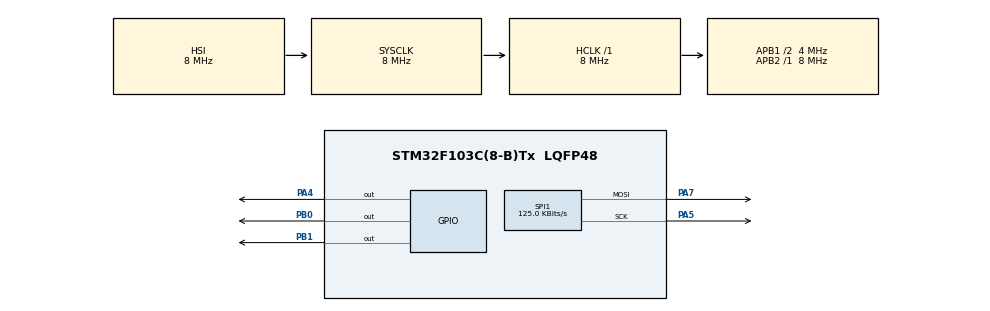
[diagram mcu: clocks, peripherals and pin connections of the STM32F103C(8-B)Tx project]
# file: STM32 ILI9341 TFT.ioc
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Mcu.Family=STM32F1
Mcu.Name=STM32F103C(8-B)Tx
Mcu.Package=LQFP48
NVIC.PriorityGroup=NVIC_PRIORITYGROUP_4
PA4.Signal=GPIO_Output
PA5.Mode=TX_Only_Simplex_Unidirect_Master
PA5.Signal=SPI1_SCK
PA7.Mode=TX_Only_Simplex_Unidirect_Master
PA7.Signal=SPI1_MOSI
PB0.Signal=GPIO_Output
PB1.Signal=GPIO_Output
ProjectManager.HeapSize=0x200
ProjectManager.StackSize=0x400
ProjectManager.TargetToolchain=STM32CubeIDE
RCC.AHBFreq_Value=8000000
RCC.APB1CLKDivider=RCC_HCLK_DIV2
RCC.APB1Freq_Value=4000000
RCC.APB1TimFreq_Value=8000000
RCC.APB2Freq_Value=8000000
RCC.APB2TimFreq_Value=8000000
RCC.HCLKFreq_Value=8000000
RCC.PLLMUL=RCC_PLL_MUL9
RCC.SYSCLKFreq_VALUE=8000000
RCC.USBFreq_Value=36000000
SPI1.BaudRatePrescaler=SPI_BAUDRATEPRESCALER_64
SPI1.CalculateBaudRate=125.0 KBits/s
SPI1.Direction=SPI_DIRECTION_2LINES
SPI1.Mode=SPI_MODE_MASTER
SPI1.VirtualType=VM_MASTER
VP_SYS_VS_ND.Mode=No_Debug
board=custom

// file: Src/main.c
/* USER CODE BEGIN Header */
/**
  ******************************************************************************
  * @file           : main.c
  * @brief          : Main program body
  ******************************************************************************
  * @attention
  *
  * <h2><center>&copy; Copyright (c) 2023 STMicroelectronics.
  * All rights reserved.</center></h2>
  *
  * This software component is licensed by ST under BSD 3-Clause license,
  * the "License"; You may not use this file except in compliance with the
  * License. You may obtain a copy of the License at:
  *                        opensource.org/licenses/BSD-3-Clause
  *
  ******************************************************************************
  */
/* USER CODE END Header */

#include "main.h"

/* USER CODE BEGIN Includes */
#include <string.h>
#include <stdarg.h>
#include "ili9341.h"
#include "ili9341_touch.h"
#include "fonts.h"
#include"testimg.h"

/* USER CODE END Includes */

SPI_HandleTypeDef hspi1;

void SystemClock_Config(void);
static void MX_GPIO_Init(void);
static void MX_SPI1_Init(void);

/* USER CODE BEGIN 0 */
void init() {
    ILI9341_Unselect();
    ILI9341_TouchUnselect();
    ILI9341_Init();
}

void loop() {

   /* // Check border
    ILI9341_FillScreen(ILI9341_BLACK);

    for(int x = 0; x < ILI9341_WIDTH; x++) {
        ILI9341_DrawPixel(x, 0, ILI9341_RED);
        ILI9341_DrawPixel(x, ILI9341_HEIGHT-1, ILI9341_RED);
    }

    for(int y = 0; y < ILI9341_HEIGHT; y++) {
        ILI9341_DrawPixel(0, y, ILI9341_RED);
        ILI9341_DrawPixel(ILI9341_WIDTH-1, y, ILI9341_RED);
    }

    HAL_Delay(1000);
    ILI9341_WriteString(0, 3*10, " WELCOM TO MY CHANNEL", Font_11x18, ILI9341_GREEN, ILI9341_BLACK);
      ILI9341_WriteString(0, 6*10, " THE EMBEDDED THINGS", Font_11x18, ILI9341_GREEN, ILI9341_BLACK);
      ILI9341_WriteString(0, 9*10, "       PLEASE", Font_11x18, ILI9341_GREEN, ILI9341_BLACK);
      ILI9341_WriteString(0, 12*10, "   LIKE && SUBSCRIBE", Font_11x18, ILI9341_GREEN, ILI9341_BLACK);
      ILI9341_WriteString(0, 15*10,"  Thank you ", Font_16x26, ILI9341_RED, ILI9341_BLACK);
      ILI9341_WriteString(0, 18*10,"   (*^_-*) ", Font_16x26, ILI9341_RED, ILI9341_BLACK);
      HAL_Delay(3000);

    // Check fonts
    ILI9341_FillScreen(ILI9341_BLACK);
    ILI9341_WriteString(0, 0, "Font_7x10, HELLO", Font_7x10, ILI9341_RED, ILI9341_BLACK);
    ILI9341_WriteString(0, 3*10, "Font_11x18, HELLO", Font_11x18, ILI9341_GREEN, ILI9341_BLACK);
    ILI9341_WriteString(0, 3*10+3*18, "Font_16x26,HELLO", Font_16x26, ILI9341_BLUE, ILI9341_BLACK);

    HAL_Delay(1000);
    ILI9341_InvertColors(true);
    HAL_Delay(1000);
    ILI9341_InvertColors(false);

    HAL_Delay(5000);

    // Check colors
    ILI9341_FillScreen(ILI9341_WHITE);
    ILI9341_WriteString(0, 0, "WHITE", Font_11x18, ILI9341_BLACK, ILI9341_WHITE);
    HAL_Delay(500);

    ILI9341_FillScreen(ILI9341_BLUE);
    ILI9341_WriteString(0, 0, "BLUE", Font_11x18, ILI9341_BLACK, ILI9341_BLUE);
    HAL_Delay(500);

    ILI9341_FillScreen(ILI9341_RED);
    ILI9341_WriteString(0, 0, "RED", Font_11x18, ILI9341_BLACK, ILI9341_RED);
    HAL_Delay(500);

    ILI9341_FillScreen(ILI9341_GREEN);
    ILI9341_WriteString(0, 0, "GREEN", Font_11x18, ILI9341_BLACK, ILI9341_GREEN);
    HAL_Delay(500);

    ILI9341_FillScreen(ILI9341_CYAN);
    ILI9341_WriteString(0, 0, "CYAN", Font_11x18, ILI9341_BLACK, ILI9341_CYAN);
    HAL_Delay(500);

    ILI9341_FillScreen(ILI9341_MAGENTA);
    ILI9341_WriteString(0, 0, "MAGENTA", Font_11x18, ILI9341_BLACK, ILI9341_MAGENTA);
    HAL_Delay(500);

    ILI9341_FillScreen(ILI9341_YELLOW);
    ILI9341_WriteString(0, 0, "YELLOW", Font_11x18, ILI9341_BLACK, ILI9341_YELLOW);
    HAL_Delay(500);

    ILI9341_FillScreen(ILI9341_BLACK);
    ILI9341_WriteString(0, 0, "BLACK", Font_11x18, ILI9341_WHITE, ILI9341_BLACK);
    HAL_Delay(500);
*/
    ILI9341_DrawImage((ILI9341_WIDTH - 240) / 2, (ILI9341_HEIGHT - 240) / 2, 240, 240, (const uint16_t*)test_img_240x240);
    HAL_Delay(3000);

}

/* USER CODE END 0 */

int main(void)
{

  /* MCU Configuration--------------------------------------------------------*/

  /* Reset of all peripherals, Initializes the Flash interface and the Systick. */
  HAL_Init();

  /* Configure the system clock */
  SystemClock_Config();

  /* Initialize all configured peripherals */
  MX_GPIO_Init();
  MX_SPI1_Init();
  /* USER CODE BEGIN 2 */
 init();

  /* USER CODE END 2 */

  /* Infinite loop */
  while (1)
  {

    /* USER CODE BEGIN 3 */
    loop();

  }
  /* USER CODE END 3 */
}

void SystemClock_Config(void)
{
  RCC_OscInitTypeDef RCC_OscInitStruct = {0};
  RCC_ClkInitTypeDef RCC_ClkInitStruct = {0};

  /** Initializes the CPU, AHB and APB busses clocks
  */
  RCC_OscInitStruct.OscillatorType = RCC_OSCILLATORTYPE_HSI;
  RCC_OscInitStruct.HSIState = RCC_HSI_ON;
  RCC_OscInitStruct.HSICalibrationValue = RCC_HSICALIBRATION_DEFAULT;
  RCC_OscInitStruct.PLL.PLLState = RCC_PLL_NONE;
  if (HAL_RCC_OscConfig(&RCC_OscInitStruct) != HAL_OK)
  {
    Error_Handler();
  }
  /** Initializes the CPU, AHB and APB busses clocks
  */
  RCC_ClkInitStruct.ClockType = RCC_CLOCKTYPE_HCLK|RCC_CLOCKTYPE_SYSCLK
                              |RCC_CLOCKTYPE_PCLK1|RCC_CLOCKTYPE_PCLK2;
  RCC_ClkInitStruct.SYSCLKSource = RCC_SYSCLKSOURCE_HSI;
  RCC_ClkInitStruct.AHBCLKDivider = RCC_SYSCLK_DIV1;
  RCC_ClkInitStruct.APB1CLKDivider = RCC_HCLK_DIV2;
  RCC_ClkInitStruct.APB2CLKDivider = RCC_HCLK_DIV1;

  if (HAL_RCC_ClockConfig(&RCC_ClkInitStruct, FLASH_LATENCY_0) != HAL_OK)
  {
    Error_Handler();
  }
}

static void MX_SPI1_Init(void)
{

  /* SPI1 parameter configuration*/
  hspi1.Instance = SPI1;
  hspi1.Init.Mode = SPI_MODE_MASTER;
  hspi1.Init.Direction = SPI_DIRECTION_2LINES;
  hspi1.Init.DataSize = SPI_DATASIZE_8BIT;
  hspi1.Init.CLKPolarity = SPI_POLARITY_LOW;
  hspi1.Init.CLKPhase = SPI_PHASE_1EDGE;
  hspi1.Init.NSS = SPI_NSS_SOFT;
  hspi1.Init.BaudRatePrescaler = SPI_BAUDRATEPRESCALER_64;
  hspi1.Init.FirstBit = SPI_FIRSTBIT_MSB;
  hspi1.Init.TIMode = SPI_TIMODE_DISABLE;
  hspi1.Init.CRCCalculation = SPI_CRCCALCULATION_DISABLE;
  hspi1.Init.CRCPolynomial = 10;
  if (HAL_SPI_Init(&hspi1) != HAL_OK)
  {
    Error_Handler();
  }

}

static void MX_GPIO_Init(void)
{
  GPIO_InitTypeDef GPIO_InitStruct = {0};

  /* GPIO Ports Clock Enable */
  __HAL_RCC_GPIOA_CLK_ENABLE();
  __HAL_RCC_GPIOB_CLK_ENABLE();

  /*Configure GPIO pin Output Level */
  HAL_GPIO_WritePin(GPIOA, GPIO_PIN_4, GPIO_PIN_RESET);

  /*Configure GPIO pin Output Level */
  HAL_GPIO_WritePin(GPIOB, GPIO_PIN_0|GPIO_PIN_1, GPIO_PIN_RESET);

  /*Configure GPIO pin : PA4 */
  GPIO_InitStruct.Pin = GPIO_PIN_4;
  GPIO_InitStruct.Mode = GPIO_MODE_OUTPUT_PP;
  GPIO_InitStruct.Pull = GPIO_NOPULL;
  GPIO_InitStruct.Speed = GPIO_SPEED_FREQ_LOW;
  HAL_GPIO_Init(GPIOA, &GPIO_InitStruct);

  /*Configure GPIO pins : PB0 PB1 */
  GPIO_InitStruct.Pin = GPIO_PIN_0|GPIO_PIN_1;
  GPIO_InitStruct.Mode = GPIO_MODE_OUTPUT_PP;
  GPIO_InitStruct.Pull = GPIO_NOPULL;
  GPIO_InitStruct.Speed = GPIO_SPEED_FREQ_LOW;
  HAL_GPIO_Init(GPIOB, &GPIO_InitStruct);

}

void Error_Handler(void)
{
}

/************************ (C) COPYRIGHT STMicroelectronics *****END OF FILE****/
